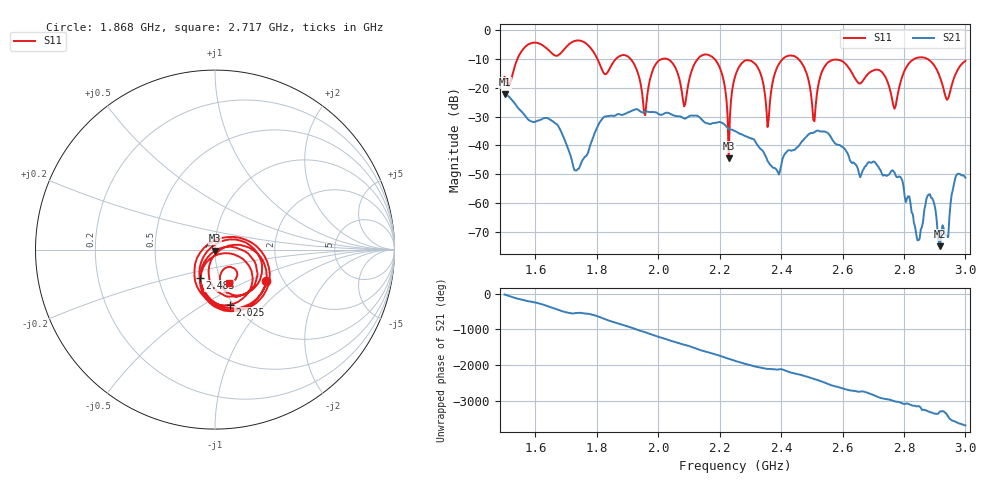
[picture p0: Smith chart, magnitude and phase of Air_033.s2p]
# HZ S RI R 50
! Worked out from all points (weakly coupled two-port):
!   404 points, 1.5 GHz to 3 GHz, reference 50 ohm
!   highest |S21| = -22.28 dB at 1.5 GHz (marker M1); lowest = -74.9 dB at 2.918 GHz (marker M2)
!   lowest |S11| = -44.5 dB at 2.23 GHz (marker M3), VSWR 1.01, Z = 50.2 - j0.564 ohm
!   |S11| at or under -10 dB: 2.183 GHz to 2.406 GHz (223.5 MHz wide, 9.74 % of centre); 2.456 GHz to 2.835 GHz (378.9 MHz wide, 14.3 % of centre); 2.875 GHz to end of sweep (the widest 3 of 7)
!   S12 and S22 are empty: the file has one direction only
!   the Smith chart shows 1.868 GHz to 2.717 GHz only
!   S11 on the Smith chart (normalised r, x): 1.868 GHz: 1.64, -0.65; 2.025 GHz: 0.96, -0.66; 2.483 GHz: 0.80, -0.26; 2.717 GHz: 1.09, -0.42
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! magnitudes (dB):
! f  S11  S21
! 1.5 GHz  -16.3  -22.3
! 1.753 GHz  -3.9  -45.2
! 1.868 GHz  -9.5  -29.2
! 1.958 GHz  -29.5  -28.3
! 2.002 GHz  -10.6  -29.2
! 2.025 GHz  -9.9  -28.8
! 2.084 GHz  -26.5  -30.6
! 2.181 GHz  -9.8  -32.2
! 2.23 GHz  -44.5  -34.2
! 2.252 GHz  -15.6  -35.1
! 2.315 GHz  -11.7  -38.4
! 2.356 GHz  -33.6  -45.4
! 2.39 GHz  -12.4  -49.3
! 2.483 GHz  -14.9  -36.9
! 2.501 GHz  -26.0  -35.7
! 2.561 GHz  -10.7  -36.9
! 2.717 GHz  -13.9  -47.5
! 2.751 GHz  -19.2  -50.2
! 2.844 GHz  -9.6  -72.8
! 2.888 GHz  -11.0  -58.1
! 2.918 GHz  -16.7  -74.9
! 3 GHz  -10.7  -51.2
